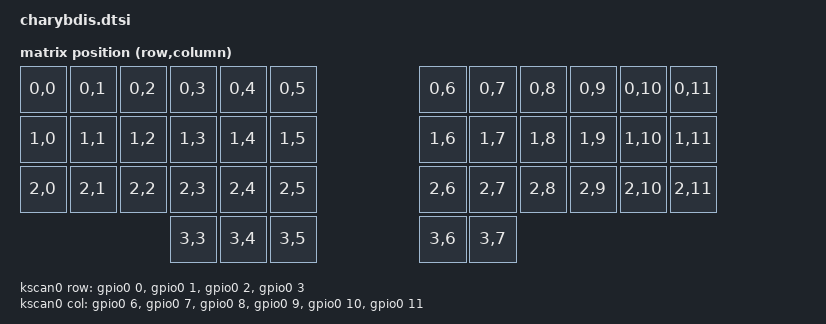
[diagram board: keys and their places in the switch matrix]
/ {
    chosen {
        zmk,kscan = &kscan0;
        zmk,matrix_transform = &default_transform;
    };

    default_transform: keymap_transform_0 {
        compatible = "zmk,matrix-transform";
        columns = <12>;
        rows = <4>;
// | k00  | k01  | k02  | k03  | k04  | k05  |                  | k45  | k44  | k43  | k42  | k41  | k40  |
// | k10  | k11  | k12  | k13  | k14  | k15  |                  | k55  | k54  | k53  | k52  | k51  | k50  |
// | k20  | k21  | k22  | k23  | k24  | k25  |                  | k65  | k64  | k63  | k62  | k61  | k60  |
//                      | k33  | k34  | k32  |                  | k71  | k74  | k73  |
        map = <
RC(0,0) RC(0,1) RC(0,2) RC(0,3) RC(0,4) RC(0,5)                 RC(0,6) RC(0,7) RC(0,8) RC(0,9) RC(0,10) RC(0,11)
RC(1,0) RC(1,1) RC(1,2) RC(1,3) RC(1,4) RC(1,5)                 RC(1,6) RC(1,7) RC(1,8) RC(1,9) RC(1,10) RC(1,11)
RC(2,0) RC(2,1) RC(2,2) RC(2,3) RC(2,4) RC(2,5)                 RC(2,6) RC(2,7) RC(2,8) RC(2,9) RC(2,10) RC(2,11)
                        RC(3,3) RC(3,4) RC(3,5)                 RC(3,6) RC(3,7)
        >;
    };

	kscan0: kscan {
        compatible = "zmk,kscan-gpio-matrix";
        label = "KSCAN";

        diode-direction = "row2col";
		row-gpios = <&gpio0 0 GPIO_ACTIVE_HIGH>,  // GP0 (Row 0)
             <&gpio0 1 GPIO_ACTIVE_HIGH>,  // GP1 (Row 1)
             <&gpio0 2 GPIO_ACTIVE_HIGH>,  // GP2 (Row 2)
             <&gpio0 3 GPIO_ACTIVE_HIGH>;  // GP3 (Row 3)

        col-gpios = <&gpio0 6 (GPIO_ACTIVE_HIGH | GPIO_PULL_DOWN)>,  // GP6 (Col 0)
             <&gpio0 7 (GPIO_ACTIVE_HIGH | GPIO_PULL_DOWN)>,  // GP7 (Col 1)
             <&gpio0 8 (GPIO_ACTIVE_HIGH | GPIO_PULL_DOWN)>,  // GP8 (Col 2)
             <&gpio0 9 (GPIO_ACTIVE_HIGH | GPIO_PULL_DOWN)>,  // GP9 (Col 3)
             <&gpio0 10 (GPIO_ACTIVE_HIGH | GPIO_PULL_DOWN)>, // GP10 (Col 4)
             <&gpio0 11 (GPIO_ACTIVE_HIGH | GPIO_PULL_DOWN)>; // GP11 (Col 5)
    };

};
